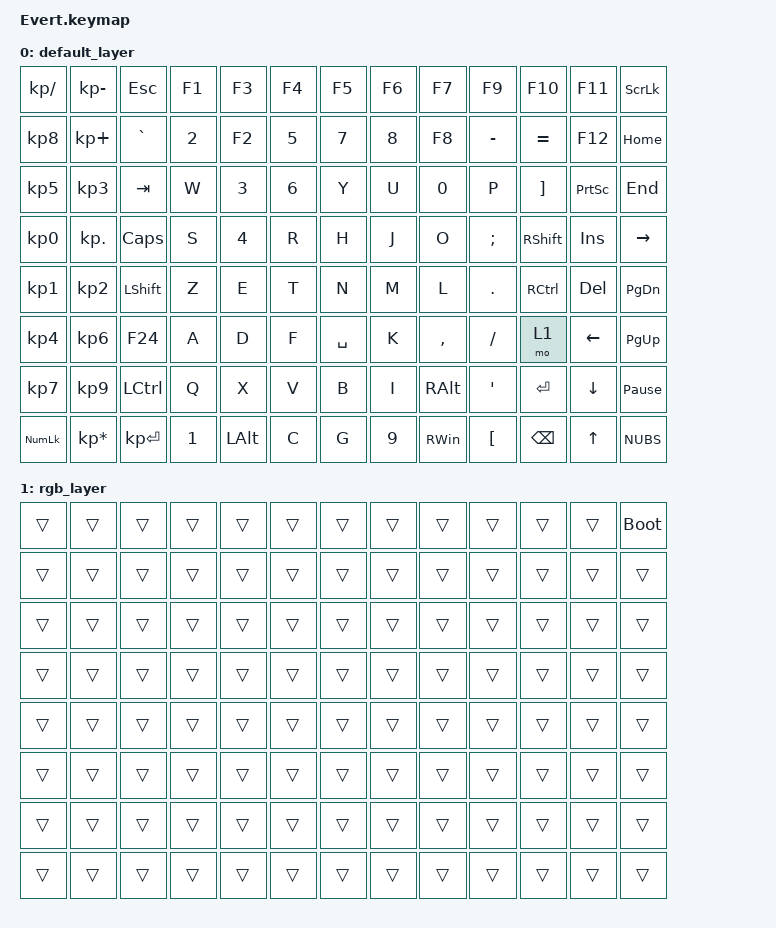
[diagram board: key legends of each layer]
/*
 * Copyright (c) 2025 Robin Madar
 *
 * Evert keyboard, no touchy
 */

#include <behaviors.dtsi>
#include <dt-bindings/zmk/keys.h>
#include <dt-bindings/zmk/rgb.h>
#include <dt-bindings/zmk/bt.h>

/ {
    keymap {
        compatible = "zmk,keymap";

        default_layer {
// ----------------------------------------------------------------------------------------------------------------------------------
//                      |  ESC  |  | F1 |  F2 |  F3 |  F4 |  | F5  | F6  |  F7 |  F8 |   | F9 |  F10 | F11 | F12 | Prt | Scr | Paus |
// | NL| / | * | -  |   |  ˇ  |  1  |  2  |  3  |  4  |  5  |  6  |  7  |  8  |  9  |  0  |  -  |  =  |   BSPC   | Ins | Home| PgUp |
// | 7 | 8 | 9 |  + |   | TAB  |  Q  |  W  |  E  |  R  |  T  |  Y  |  U  |  I  |  O  |  P  |  [  |  ]  |   Ent   | Del | End | PgDw |
// | 4 | 5 | 6 |    |   | CAPS  |  A  |  S  |  D  |  F  |  G  |  H  |  J  |  K  |  L  |  ;  |  '  |         er   |
// | 1 | 2 | 3 | En |   |  SHIFT  |  Z  |  X  |  C  |  V  |  B  |  N  |  M  |  ,  |  .  |  /  |      SHIFT       |     |  ↑  |
// |   0   | . | ter|   |  CTL  |  WIN  |  ALT  |            SPACE              |  ALT  |  WIN  |  CTL |  Mo(1)  | ←   |  ↓  |  →   |
// ----------------------------------------------------------------------------------------------------------------------------------
            bindings = <
    &kp KP_SLASH &kp KP_MINUS &kp ESC &kp F1 &kp F3 &kp F4 &kp F5 &kp F6 &kp F7 &kp F9 &kp F10 &kp F11 &kp SLCK
    &kp KP_N8 &kp KP_PLUS &kp GRAVE &kp N2 &kp F2 &kp N5 &kp N7 &kp N8 &kp F8 &kp MINUS &kp EQUAL &kp F12 &kp HOME
    &kp KP_N5 &kp KP_N3 &kp TAB &kp W &kp N3 &kp N6 &kp Y &kp U &kp N0 &kp P &kp RBKT &kp PSCRN &kp END
    &kp KP_N0 &kp KP_DOT &kp CAPS &kp S &kp N4 &kp R &kp H &kp J &kp O &kp SEMI &kp RSHFT &kp INS &kp RIGHT
    &kp KP_N1 &kp KP_N2 &kp LSHFT &kp Z &kp E &kp T &kp N &kp M &kp L &kp DOT &kp RCTRL &kp DEL &kp PG_DN
    &kp KP_N4 &kp KP_N6 &kp F24 &kp A &kp D &kp F &kp SPACE &kp K &kp COMMA &kp SLASH &mo 1 &kp LEFT &kp PG_UP
    &kp KP_N7 &kp KP_N9 &kp LCTRL &kp Q &kp X &kp V &kp B &kp I &kp RALT &kp SQT &kp ENTER &kp DOWN &kp PAUSE_BREAK 
    &kp KP_NUM &kp KP_ASTERISK &kp KP_ENTER &kp N1 &kp LALT &kp C &kp G &kp N9 &kp RWIN &kp LBKT &kp BSPC &kp UP &kp NUBS
            >;
        };

        rgb_layer {
// ----------------------------------------------------------------------------------------------------------------------------------
//                      |  ESC  |  | F1 |  F2 |  F3 |  F4 |  | F5  | F6  |  F7 |  F8 |   | F9 |  F10 | F11 | F12 | Prt | Scr | Paus |
// | NL| / | * | -  |   |  ˇ  |  1  |  2  |  3  |  4  |  5  |  6  |  7  |  8  |  9  |  0  |  -  |  =  |   BSPC   | Ins | Home| PgUp |
// | 7 | 8 | 9 |  + |   | TAB  |  Q  |  W  |  E  |  R  |  T  |  Y  |  U  |  I  |  O  |  P  |  [  |  ]  |   Ent   | Del | End | PgDw |
// | 4 | 5 | 6 |    |   | CAPS  |  A  |  S  |  D  |  F  |  G  |  H  |  J  |  K  |  L  |  ;  |  '  |         er   |
// | 1 | 2 | 3 | En |   |  SHIFT  |  Z  |  X  |  C  |  V  |  B  |  N  |  M  |  ,  |  .  |  /  |      SHIFT       |     |  ↑  |
// |   0   | . | ter|   |  CTL  |  WIN  |  ALT  |            SPACE              |  ALT  |  WIN  |  CTL |  Mo(1)  | ←   |  ↓  |  →   |
// ----------------------------------------------------------------------------------------------------------------------------------
            bindings = <
    &trans &trans &trans &trans &trans &trans &trans &trans &trans &trans &trans &trans &bootloader
    &trans &trans &trans &trans &trans &trans &trans &trans &trans &trans &trans &trans &trans
    &trans &trans &trans &trans &trans &trans &trans &trans &trans &trans &trans &trans &trans
    &trans &trans &trans &trans &trans &trans &trans &trans &trans &trans &trans &trans &trans
    &trans &trans &trans &trans &trans &trans &trans &trans &trans &trans &trans &trans &trans
    &trans &trans &trans &trans &trans &trans &trans &trans &trans &trans &trans &trans &trans
    &trans &trans &trans &trans &trans &trans &trans &trans &trans &trans &trans &trans &trans
    &trans &trans &trans &trans &trans &trans &trans &trans &trans &trans &trans &trans &trans
            >;
        };
    };
};
